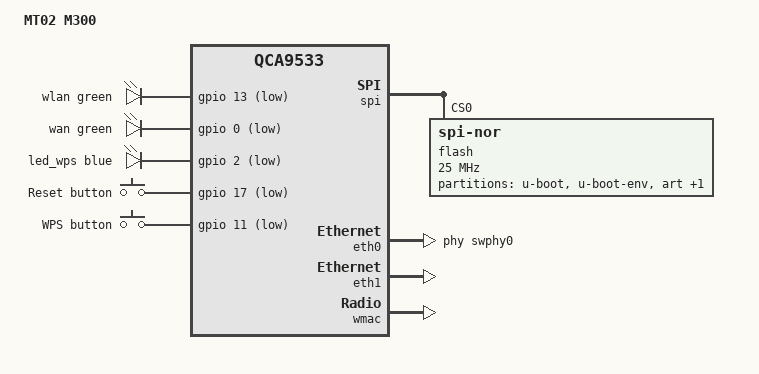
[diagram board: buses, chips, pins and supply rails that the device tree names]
// SPDX-License-Identifier: GPL-2.0-or-later

#include "qca953x.dtsi"

#include <dt-bindings/gpio/gpio.h>
#include <dt-bindings/input/input.h>
#include <dt-bindings/leds/common.h>
#include <dt-bindings/mtd/partitions/uimage.h>

/ {
	compatible = "generic,mt02_m300-mt9533", "qca,qca9533";
	model = "MT02 M300";

	chosen {
		/delete-property/ bootargs;
	};

	aliases {
		label-mac-device = &wmac;
		led-boot = &led_wps;
		led-failsafe = &led_wps;
		led-upgrade = &led_wps;
	};

	leds {
		compatible = "gpio-leds";

		wlan {
			function = LED_FUNCTION_WLAN;
			color = <LED_COLOR_ID_GREEN>;
			gpios = <&gpio 13 GPIO_ACTIVE_LOW>;
		};

		wan {
			function = LED_FUNCTION_WAN;
			color = <LED_COLOR_ID_GREEN>;
			gpios = <&gpio 0 GPIO_ACTIVE_LOW>;
		};

		led_wps: wps {
			function = LED_FUNCTION_WPS;
			color = <LED_COLOR_ID_BLUE>;
			gpios = <&gpio 2 GPIO_ACTIVE_LOW>;
		};
	};

	keys {
		compatible = "gpio-keys";

		reset {
			label = "Reset button";
			linux,code = <KEY_RESTART>;
			gpios = <&gpio 17 GPIO_ACTIVE_LOW>;
			debounce-interval = <60>;
		};

		wps {
			label = "WPS button";
			linux,code = <KEY_WPS_BUTTON>;
			gpios = <&gpio 11 GPIO_ACTIVE_LOW>;
			debounce-interval = <60>;
		};
	};
};

&spi {
	status = "okay";

	flash@0 {
		compatible = "jedec,spi-nor";
		reg = <0>;
		spi-max-frequency = <25000000>;

		partitions {
			compatible = "fixed-partitions";
			#address-cells = <1>;
			#size-cells = <1>;

			partition@0 {
				label = "u-boot";
				reg = <0x000000 0x050000>;
				read-only;
			};

			partition@50000 {
				label = "u-boot-env";
				reg = <0x050000 0x010000>;
				read-only;
			};

			partition@60000 {
				label = "art";
				reg = <0x060000 0x010000>;
				read-only;

				nvmem-layout {
					compatible = "fixed-layout";
					#address-cells = <1>;
					#size-cells = <1>;

					cal_art_1000: cal@1000 {
						reg = <0x1000 0x440>;
					};

					macaddr_art_0: macaddr@0 {
						reg = <0x0 0x6>;
					};

					macaddr_art_6: macaddr@6 {
						reg = <0x6 0x6>;
					};

					macaddr_art_1002: macaddr@1002 {
						reg = <0x1002 0x6>;
					};
				};
			};

			partition@70000 {
				compatible = "openwrt,uimage", "denx,uimage";
				label = "firmware";
				reg = <0x070000 0xf90000>;
			};
		};
	};
};

&eth0 {
	status = "okay";

	phy-handle = <&swphy0>;

	nvmem-cells = <&macaddr_art_0>;
	nvmem-cell-names = "mac-address";
};

&eth1 {
	status = "okay";

	nvmem-cells = <&macaddr_art_6>;
	nvmem-cell-names = "mac-address";
};

&wmac {
	status = "okay";

	nvmem-cells = <&cal_art_1000>, <&macaddr_art_1002>;
	nvmem-cell-names = "calibration", "mac-address";
};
